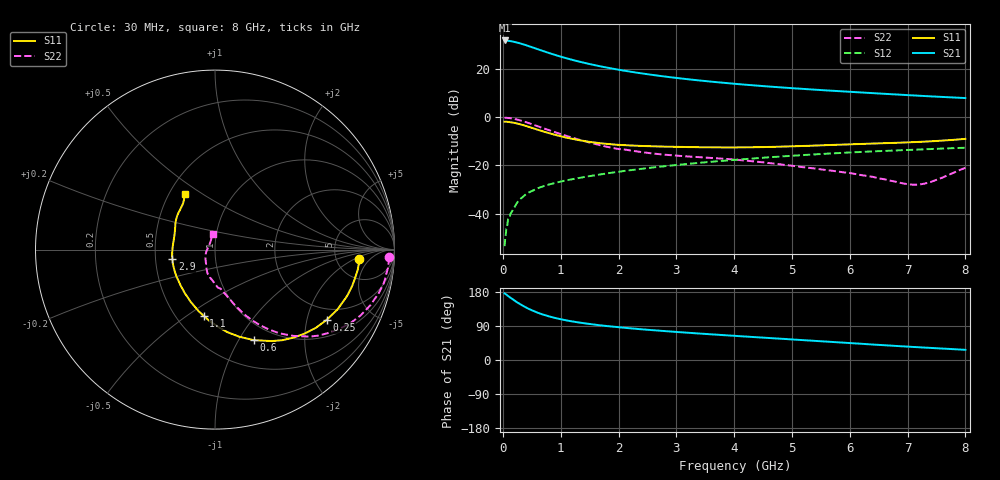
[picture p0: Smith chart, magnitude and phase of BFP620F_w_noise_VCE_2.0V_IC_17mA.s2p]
! Infineon Technologies  Discrete & RF Semiconductors
! BFP620F
! VCE =  2.0 V,  IC =  17 mA
! Common Emitter S-Parameters:  Dec 2014
# GHz  S  MA  R  50
!  f  S11  S21  S12  S22
! GHz  MAG  ANG  MAG  ANG  MAG  ANG  MAG  ANG
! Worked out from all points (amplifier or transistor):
!   95 points, 30 MHz to 8 GHz, reference 50 ohm
!   highest |S21| = 31.8 dB at 30 MHz (marker M1)
!   |S21| within 3 dB of that: start of sweep to 526.9 MHz
!   unconditionally stable (mu >= 1): 3.13 GHz to end of sweep
!   at 300 MHz: K = 0.28, MSG = 32.3 dB, |S12| = -34.0 dB
!   at 3.3 GHz: K = 1.01, MAG = 16.8 dB, |S12| = -19.2 dB
!   at 8 GHz: K = 1.07, MAG = 8.7 dB, |S12| = -12.7 dB
!   lowest NFmin = 0.76 dB at 450 MHz
!   S11 on the Smith chart (normalised r, x): 30 MHz: 8.42, -2.62; 250 MHz: 1.55, -2.64; 600 MHz: 0.80, -1.16; 1.1 GHz: 0.68, -0.58; 2.9 GHz: 0.61, -0.07; 8 GHz: 0.60, +0.42
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0.03  0.8048 -3.9  39.06 176.0  0.0021 75.0  0.968 -2.6
0.08  0.7976 -10.8  38.72 170.1  0.0063 69.5  0.964 -8.0
0.13  0.7844 -17.3  37.88 164.5  0.0096 78.7  0.951 -13.1
0.2  0.7593 -26.1  36.39 157.1  0.0135 74.9  0.9181 -19.9
0.25  0.735 -32.2  35.22 151.9  0.0171 71.9  0.8892 -24.5
0.3  0.7107 -37.9  33.9 147.2  0.0199 71.2  0.8566 -28.8
0.4  0.6548 -48.7  31.15 138.6  0.0252 67.9  0.7851 -36.2
0.5  0.6004 -58.1  28.37 131.3  0.0292 65.5  0.716 -42.6
0.6  0.5488 -66.8  25.78 124.9  0.0333 63.3  0.6489 -47.8
0.7  0.5036 -74.5  23.48 119.6  0.0368 61.8  0.5888 -52.4
0.8  0.4649 -81.5  21.39 115.0  0.04 60.9  0.5355 -56.1
0.9  0.4297 -87.9  19.61 111.1  0.0431 60.2  0.4876 -59.4
1.1  0.3746 -99.6  16.65 104.5  0.0489 59.1  0.4081 -64.8
1.4  0.321 -115.0  13.49 97.1  0.057 58.6  0.3204 -70.9
1.7  0.286 -128.6  11.26 91.3  0.0651 58.1  0.2582 -76.4
2  0.2661 -140.6  9.655 86.6  0.0734 57.6  0.218 -82.4
2.7  0.2466 -162.5  7.222 77.5  0.0931 55.6  0.1709 -95.2
2.9  0.2433 -167.6  6.735 75.2  0.0987 54.8  0.1627 -98.3
4.1  0.236 167.7  4.822 62.8  0.1324 49.5  0.1285 -110.2
5.4  0.2575 149.4  3.718 50.4  0.1689 42.2  0.0859 -126.9
6.7  0.2907 133.7  3.003 38.1  0.2014 33.8  0.0481 -169.8
8  0.3538 118.6  2.491 26.8  0.2319 25.5  0.0889 98.6
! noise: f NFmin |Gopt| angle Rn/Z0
0.45  0.76  0.1  6  0.21
0.9  0.82  0.1  17  0.18
1.5  0.87  0.09  18  0.13
1.8  0.89  0.09  19  0.13
1.9  0.9  0.05  35  0.15
2.4  0.94  0.04  56  0.13
3.5  1.02  0.04  106  0.14
5.5  1.16  0.12  -145  0.09
6  1.2  0.12  240  0.13
